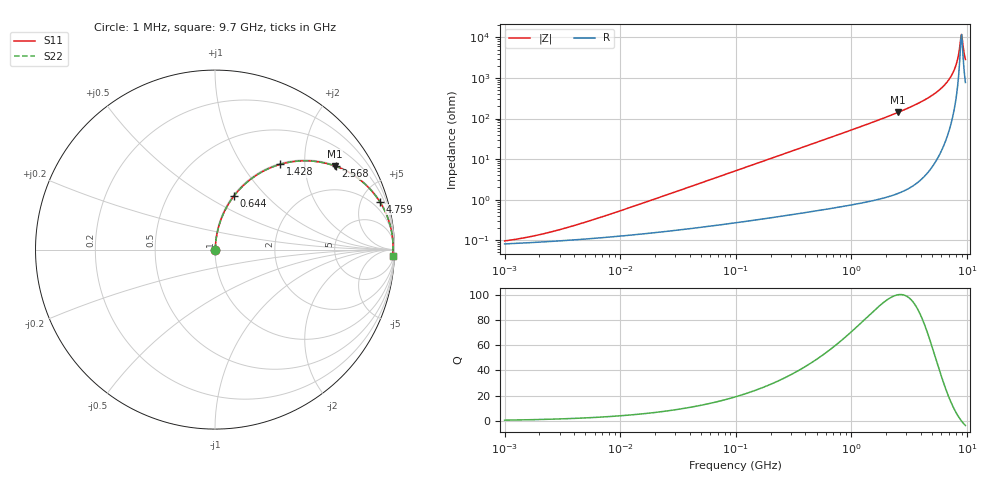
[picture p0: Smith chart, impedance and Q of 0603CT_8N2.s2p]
# MHz  S  MA  R  50
!Freq  MagS11  AngS11  MagS21  AngS21  MagS12  AngS12  MagS22  AngS22
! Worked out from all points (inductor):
!   924 points, 1 MHz to 9.7 GHz, reference 50 ohm
!   read as one part in series: L = 8.2 nH near 6.689 MHz
!   highest Q = 99.8 at 2.542 GHz (marker M1), where L = 8.92 nH
!   self-resonance near 8.907 GHz
!   S11 on the Smith chart (normalised r, x): 1 MHz: 1.00, +0.00; 644 MHz: 1.01, +0.67; 1.428 GHz: 1.02, +1.51; 2.568 GHz: 1.03, +2.88; 4.759 GHz: 1.11, +6.82; 9.7 GHz: 17, -55
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1  0.0009584 32.5  0.9992 -0.0  0.9992 -0.0  0.0009584 32.5
2.047099  0.001385 49.5  0.9991 -0.1  0.9991 -0.1  0.001385 49.5
4.629047  0.002603 66.1  0.9989 -0.1  0.9989 -0.1  0.002603 66.1
21.42807  0.01113 81.3  0.9984 -0.6  0.9984 -0.6  0.01113 81.3
99.19155  0.05098 84.1  0.996 -2.9  0.996 -2.9  0.05098 84.1
228.8074  0.1168 81.5  0.9894 -6.7  0.9894 -6.7  0.1168 81.5
459.1623  0.2297 75.5  0.9683 -13.3  0.9683 -13.3  0.2297 75.5
644.0105  0.3148 70.6  0.9436 -18.3  0.9436 -18.3  0.3148 70.6
968.4323  0.4481 62.6  0.8875 -26.6  0.8875 -26.6  0.4481 62.6
1427.588  0.599 52.5  0.7937 -36.8  0.7937 -36.8  0.599 52.5
2104.439  0.7501 40.8  0.6537 -48.6  0.6537 -48.6  0.7501 40.8
2542.392  0.8146 34.9  0.5719 -54.5  0.5719 -54.5  0.8146 34.9
2567.816  0.8178 34.6  0.5674 -54.9  0.5674 -54.9  0.8178 34.6
4758.708  0.9556 16.3  0.2801 -72.8  0.2801 -72.8  0.9556 16.3
6102.72  0.9809 9.6  0.1677 -78.6  0.1677 -78.6  0.9809 9.6
7299.753  0.9899 5.1  0.0892 -81.0  0.0892 -81.0  0.9899 5.1
8063.469  0.9919 2.6  0.04649 -78.7  0.04649 -78.7  0.9919 2.6
8307.8  0.9921 1.9  0.03392 -75.6  0.03392 -75.6  0.9921 1.9
8731.581  0.992 0.7  0.01417 -55.4  0.01417 -55.4  0.992 0.7
8907.086  0.9918 0.2  0.008779 -21.3  0.008779 -21.3  0.9918 0.2
9176.979  0.9914 -0.5  0.01284 47.6  0.01284 47.6  0.9914 -0.5
9700  0.9901 -1.9  0.03459 72.4  0.03459 72.4  0.9901 -1.9
